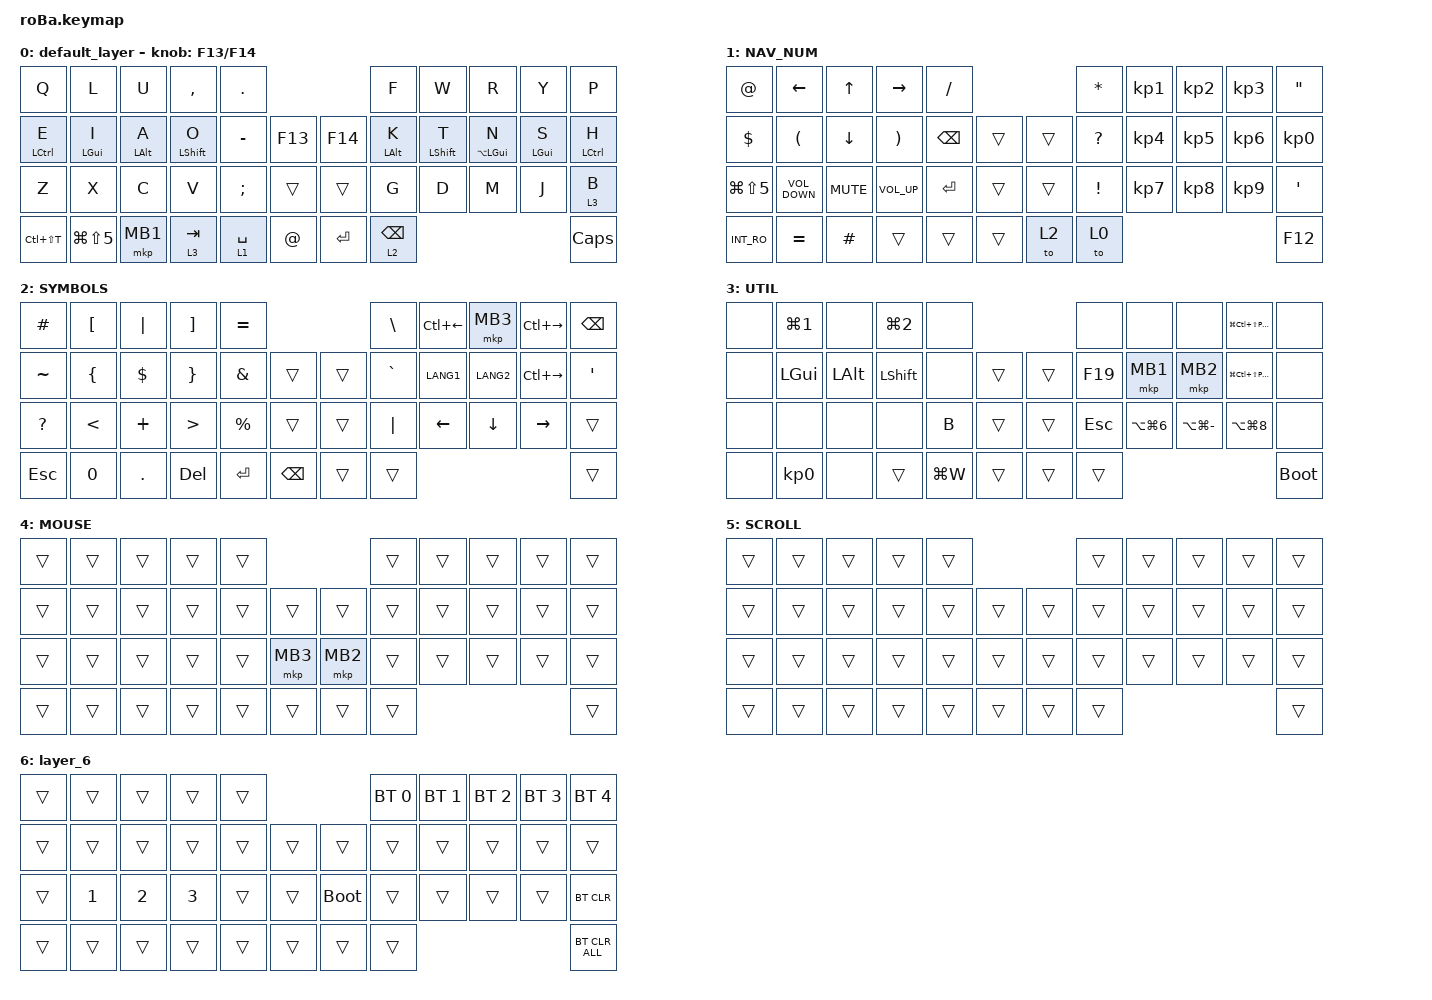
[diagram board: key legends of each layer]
// Onishi / Keyball39 migration test. Layers 4-6, trackball and BLE controls kept from stock.
// Layers 0-3 are a draft based on Remap screenshots. Do not flash until validated.
#include <behaviors.dtsi>
#include <dt-bindings/zmk/bt.h>
#include <dt-bindings/zmk/keys.h>
#include <dt-bindings/zmk/pointing.h>
#include "roba-studio-macros.dtsi"

&mt {
    flavor = "balanced";
    quick-tap-ms = <0>;
};

&trackball {
    automouse-layer = <0>; // disable auto mouse, explicit Layer 3 only
    scroll-layers = <3 5>;

    // arrows {
    //     layers = <3>;
    //     bindings =
    //         <&kp RIGHT_ARROW>,
    //         <&kp LEFT_ARROW>,
    //         <&kp UP_ARROW>,
    //         <&kp DOWN_ARROW>;
    //     tick = <10>;
    //     wait-ms = <5>;
    //     tap-ms = <5>;
    // };
};

/ {
    // Disabled stock position-based combos for the Onishi trial layout.

    macros {
        to_layer_0: to_layer_0 {
            compatible = "zmk,behavior-macro-one-param";
            #binding-cells = <1>;
            bindings = <&to 0 &macro_param_1to1 &kp MACRO_PLACEHOLDER>;
            label = "TO_LAYER_0";
        };
    };

    behaviors {
        lt_to_layer_0: lt_to_layer_0 {
            compatible = "zmk,behavior-hold-tap";
            label = "LAYER_TAP_TO_0";
            bindings = <&mo>, <&to_layer_0>;

            #binding-cells = <2>;
            tapping-term-ms = <200>;
        };
    };

    keymap {
        compatible = "zmk,keymap";

        default_layer {
            bindings = <
                &kp Q  &kp L  &kp U  &kp COMMA  &kp DOT   &kp F  &kp W  &kp R  &kp Y  &kp P
                &mt LCTRL E  &mt LGUI I  &mt LALT A  &mt LSHFT O  &kp MINUS  &kp F13  &kp F14  &mt LALT K  &mt LSHFT T  &mt LA(LGUI) N  &mt LGUI S  &mt LCTRL H
                &kp Z  &kp X  &kp C  &kp V  &kp SEMICOLON  &trans  &trans  &kp G  &kp D  &kp M  &kp J  &lt 3 B
                &kp LC(LS(T))  &kp LG(LS(NUMBER_5))  &mkp MB1  &lt 3 TAB  &lt 1 SPACE  &kp AT_SIGN  &kp ENTER  &lt 2 BACKSPACE  &kp CAPSLOCK
            >;
            // Left encoder: CW -> F13 (MIDI CC increase), CCW -> F14 (decrease).
            sensor-bindings = <&inc_dec_kp F13 F14>;
        };

        NAV_NUM {
            bindings = <
                &kp AT_SIGN  &kp LEFT_ARROW  &kp UP_ARROW  &kp RIGHT_ARROW  &kp SLASH  &kp ASTERISK  &kp KP_NUMBER_1  &kp KP_NUMBER_2  &kp KP_NUMBER_3  &kp DOUBLE_QUOTES
                &kp DOLLAR  &kp LEFT_PARENTHESIS  &kp DOWN_ARROW  &kp RIGHT_PARENTHESIS  &kp BACKSPACE  &trans  &trans  &kp QUESTION  &kp KP_NUMBER_4  &kp KP_NUMBER_5  &kp KP_NUMBER_6  &kp KP_NUMBER_0
                &kp LG(LS(NUMBER_5))  &kp C_VOLUME_DOWN  &kp C_MUTE  &kp C_VOLUME_UP  &kp ENTER  &trans  &trans  &kp EXCLAMATION  &kp KP_NUMBER_7  &kp KP_NUMBER_8  &kp KP_NUMBER_9  &kp SINGLE_QUOTE
                &kp INT_RO  &kp EQUAL  &kp HASH  &trans  &trans  &trans  &to 2  &to 0  &kp F12
            >;
        };

        SYMBOLS {
            bindings = <
                &kp HASH  &kp LEFT_BRACKET  &kp PIPE  &kp RIGHT_BRACKET  &kp EQUAL  &kp BACKSLASH  &kp LC(LEFT_ARROW)  &mkp MB3  &kp LC(RIGHT_ARROW)  &kp BACKSPACE
                &kp TILDE  &kp LEFT_BRACE  &kp DOLLAR  &kp RIGHT_BRACE  &kp AMPERSAND  &trans  &trans  &kp GRAVE  &kp LANG1  &kp LANG2  &kp LC(RIGHT_ARROW)  &kp SINGLE_QUOTE
                &kp QUESTION  &kp LESS_THAN  &kp PLUS  &kp GREATER_THAN  &kp PERCENT  &trans  &trans  &kp PIPE  &kp LEFT_ARROW  &kp DOWN_ARROW  &kp RIGHT_ARROW  &trans
                &kp ESCAPE  &kp NUMBER_0  &kp DOT  &kp DELETE  &kp ENTER  &kp BACKSPACE  &trans  &trans  &trans
            >;
        };

        UTIL {
            bindings = <
                &none  &kp LG(NUMBER_1)  &none  &kp LG(NUMBER_2)  &none  &none  &none  &none  &kp LG(LC(LS(PAGE_DOWN)))  &none
                &none  &kp LEFT_GUI  &kp LEFT_ALT  &kp LEFT_SHIFT  &none  &trans  &trans  &kp F19  &mkp MB1  &mkp MB2  &kp LG(LC(LS(PAGE_UP)))  &none
                &none  &none  &none  &none  &kp B  &trans  &trans  &kp ESCAPE  &kp LA(LG(NUMBER_6))  &kp LA(LG(MINUS))  &kp LA(LG(NUMBER_8))  &none
                &none  &kp KP_NUMBER_0  &none  &trans  &kp LG(W)  &trans  &trans  &trans  &bootloader
            >;
        };

        MOUSE {
            // Avoid overriding Onishi home-row T, N, S with mouse clicks.
            // Two otherwise-unused inner bottom-row keys become MB3/MB2
            // while the automouse layer is active. The base-layer MB1 stays.
            bindings = <
&trans  &trans  &trans  &trans  &trans                     &trans  &trans  &trans  &trans  &trans
&trans  &trans  &trans  &trans  &trans  &trans      &trans  &trans  &trans  &trans  &trans  &trans
&trans  &trans  &trans  &trans  &trans  &mkp MB3    &mkp MB2  &trans  &trans  &trans  &trans  &trans
&trans  &trans  &trans  &trans  &trans  &trans      &trans  &trans                        &trans
            >;
        };

        SCROLL {
            bindings = <
&trans  &trans  &trans  &trans  &trans                      &trans  &trans  &trans  &trans  &trans
&trans  &trans  &trans  &trans  &trans  &trans      &trans  &trans  &trans  &trans  &trans  &trans
&trans  &trans  &trans  &trans  &trans  &trans      &trans  &trans  &trans  &trans  &trans  &trans
&trans  &trans  &trans  &trans  &trans  &trans      &trans  &trans                          &trans
            >;
        };

        layer_6 {
            bindings = <
&trans  &trans        &trans        &trans        &trans                           &bt BT_SEL 0  &bt BT_SEL 1  &bt BT_SEL 2  &bt BT_SEL 3  &bt BT_SEL 4
&trans  &trans        &trans        &trans        &trans  &trans      &trans       &trans        &trans        &trans        &trans        &trans
&trans  &kp NUMBER_1  &kp NUMBER_2  &kp NUMBER_3  &trans  &trans      &bootloader  &trans        &trans        &trans        &trans        &bt BT_CLR
&trans  &trans        &trans        &trans        &trans  &trans      &trans       &trans                                                  &bt BT_CLR_ALL
            >;
        };
    };
};

/ { behaviors { rs_dynamic: rs_dynamic { compatible = "roba,dynamic-macro"; #binding-cells = <2>; display-name = "roBa Dynamic Macro v1"; }; }; };
